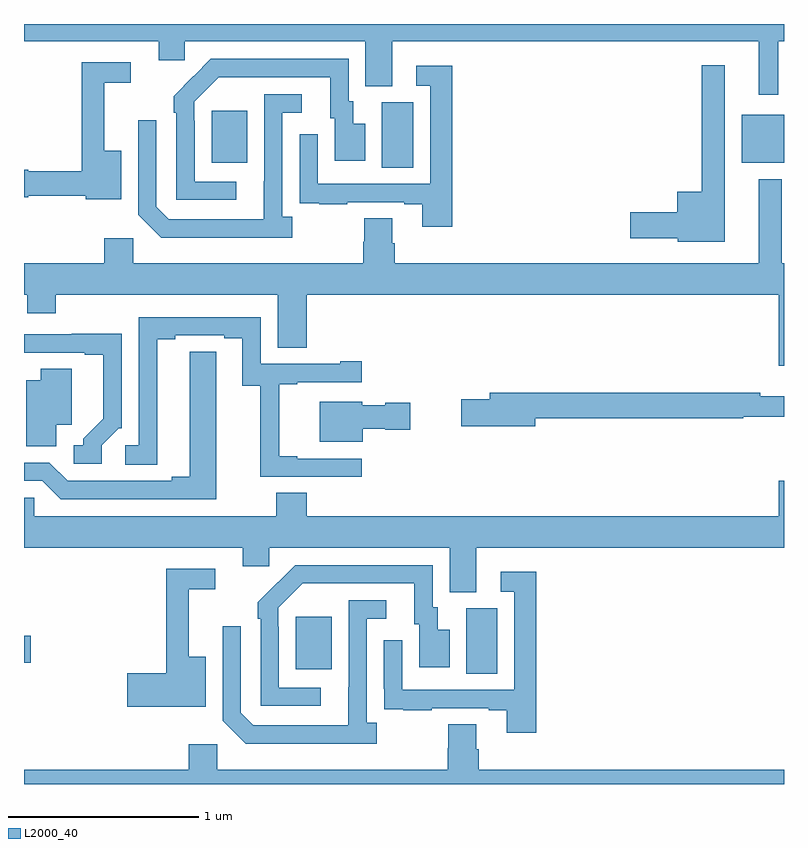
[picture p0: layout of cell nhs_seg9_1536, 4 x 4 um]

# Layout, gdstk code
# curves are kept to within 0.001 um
import gdstk
lib = gdstk.Library(unit=1e-6, precision=1e-09)
def R(c, l, rs):  # rectangles x0, y0, x1, y1
    for r in rs: c.add(gdstk.rectangle(r[:2], r[2:], *l))
def P(c, l, *ps):  # polygons
    for p in ps: c.add(gdstk.Polygon(p, *l))
L2000_40 = (2000, 40)

nhs_seg9_1536 = lib.new_cell('nhs_seg9_1536')
R(nhs_seg9_1536, L2000_40, [(199.328,1205.08,199.492,1205.424), (198.431,1205.105,198.619,1205.38), (197,1205.138,197.035,1205.28), (198.884,1207.744,199.048,1208.088), (197.987,1207.769,198.175,1208.044), (200.777,1207.769,201,1208.023)])
P(nhs_seg9_1536, L2000_40, [(200.971,1208.408),(201,1208.408),(201,1208.5),(197,1208.5),(197,1208.408),(197.708,1208.408),(197.708,1208.31),(197.847,1208.31),(197.847,1208.408),(198.797,1208.408),(198.797,1208.173),(198.937,1208.173),(198.937,1208.408),(200.867,1208.408),(200.867,1208.127),(200.971,1208.127)],
  [(198.118,1207.671),(197.898,1207.671),(197.898,1207.991),(197.895,1207.991),(197.895,1208.091),(198.024,1208.22),(198.611,1208.22),(198.611,1208.004),(198.635,1208.004),(198.635,1207.779),(198.796,1207.779),(198.796,1207.975),(198.733,1207.975),(198.733,1208.094),(198.708,1208.094),(198.708,1208.316),(197.984,1208.316),(197.787,1208.121),(197.787,1208.033),(197.802,1208.033),(197.802,1207.575),(198.118,1207.575)],
  [(197.512,1207.834),(197.423,1207.834),(197.423,1208.19),(197.563,1208.19),(197.563,1208.298),(197.305,1208.298),(197.305,1207.724),(197.022,1207.724),(197.022,1207.732),(197,1207.732),(197,1207.588),(197.022,1207.588),(197.022,1207.596),(197.324,1207.596),(197.324,1207.577),(197.512,1207.577)],
  [(200.689,1208.284),(200.568,1208.284),(200.568,1207.618),(200.438,1207.618),(200.438,1207.508),(200.19,1207.508),(200.19,1207.373),(200.442,1207.373),(200.442,1207.355),(200.689,1207.355)],
  [(199.253,1208.281),(199.065,1208.281),(199.065,1208.175),(199.137,1208.175),(199.137,1207.659),(198.546,1207.659),(198.546,1207.921),(198.45,1207.921),(198.45,1207.666),(198.451,1207.666),(198.451,1207.557),(198.553,1207.557),(198.553,1207.551),(198.701,1207.551),(198.701,1207.563),(199.001,1207.563),(199.001,1207.551),(199.097,1207.551),(199.097,1207.434),(199.253,1207.434)],
  [(198.412,1207.486),(198.36,1207.486),(198.36,1208.034),(198.463,1208.034),(198.463,1208.13),(198.264,1208.13),(198.263,1207.473),(197.763,1207.473),(197.697,1207.539),(197.697,1207.993),(197.601,1207.993),(197.601,1207.497),(197.722,1207.376),(198.412,1207.376)],
  [(201,1207.24),(200.989,1207.24),(200.989,1207.684),(200.867,1207.684),(200.867,1207.24),(198.95,1207.24),(198.95,1207.346),(198.937,1207.346),(198.937,1207.478),(198.79,1207.478),(198.79,1207.353),(198.785,1207.353),(198.785,1207.24),(197.574,1207.24),(197.574,1207.372),(197.423,1207.372),(197.423,1207.24),(197,1207.24),(197,1207.076),(197.016,1207.076),(197.016,1206.978),(197.168,1206.978),(197.168,1207.076),(198.335,1207.076),(198.335,1206.796),(198.488,1206.796),(198.488,1207.076),(200.972,1207.076),(200.972,1206.702),(201,1206.702)],
  [(198.778,1206.213),(198.439,1206.213),(198.439,1206.226),(198.344,1206.226),(198.344,1206.603),(198.439,1206.603),(198.439,1206.615),(198.778,1206.615),(198.778,1206.724),(198.665,1206.724),(198.665,1206.711),(198.246,1206.711),(198.246,1206.957),(197.604,1206.957),(197.604,1206.282),(197.532,1206.282),(197.532,1206.181),(197.701,1206.181),(197.701,1206.841),(197.797,1206.841),(197.797,1206.861),(198.053,1206.861),(198.053,1206.846),(198.149,1206.846),(198.149,1206.595),(198.244,1206.595),(198.244,1206.117),(198.778,1206.117)],
  [(197.409,1206.282),(197.499,1206.372),(197.514,1206.372),(197.514,1206.869),(197.251,1206.869),(197.251,1206.867),(197,1206.867),(197,1206.77),(197.321,1206.771),(197.321,1206.759),(197.417,1206.759),(197.417,1206.422),(197.312,1206.317),(197.312,1206.282),(197.262,1206.282),(197.262,1206.186),(197.409,1206.186)],
  [(198.013,1206.668),(198.012,1206.776),(197.873,1206.776),(197.873,1206.116),(197.777,1206.116),(197.777,1206.096),(197.229,1206.096),(197.133,1206.192),(197,1206.192),(197,1206.096),(197.097,1206.096),(197.193,1206),(198.013,1206)],
  [(197.17,1206.392),(197.251,1206.392),(197.251,1206.686),(197.087,1206.686),(197.087,1206.625),(197.012,1206.625),(197.012,1206.277),(197.17,1206.277)],
  [(199.69,1206.424),(200.786,1206.424),(200.786,1206.432),(201,1206.432),(201,1206.541),(200.876,1206.541),(200.876,1206.56),(199.451,1206.56),(199.451,1206.524),(199.302,1206.524),(199.302,1206.382),(199.69,1206.382)],
  [(198.784,1206.371),(198.9,1206.371),(198.9,1206.364),(199.033,1206.364),(199.033,1206.506),(198.9,1206.506),(198.9,1206.493),(198.78,1206.493),(198.78,1206.511),(198.557,1206.511),(198.557,1206.302),(198.784,1206.302)],
  [(199.381,1205.744),(201,1205.744),(201,1206.097),(200.972,1206.097),(200.972,1205.908),(198.488,1205.908),(198.488,1206.032),(198.328,1206.032),(198.328,1205.908),(197.055,1205.908),(197.055,1206.006),(197,1206.006),(197,1205.744),(198.152,1205.744),(198.152,1205.646),(198.291,1205.646),(198.291,1205.744),(199.241,1205.744),(199.241,1205.509),(199.381,1205.509)],
  [(198.562,1205.007),(198.342,1205.007),(198.342,1205.327),(198.339,1205.327),(198.339,1205.427),(198.468,1205.556),(199.055,1205.556),(199.055,1205.34),(199.079,1205.34),(199.079,1205.115),(199.24,1205.115),(199.24,1205.311),(199.177,1205.311),(199.177,1205.43),(199.152,1205.43),(199.152,1205.652),(198.428,1205.652),(198.231,1205.457),(198.231,1205.369),(198.246,1205.369),(198.246,1204.911),(198.562,1204.911)],
  [(197.956,1205.17),(197.867,1205.17),(197.867,1205.526),(198.007,1205.526),(198.007,1205.634),(197.749,1205.634),(197.749,1205.084),(197.544,1205.084),(197.544,1204.906),(197.956,1204.906)],
  [(199.697,1205.617),(199.509,1205.617),(199.509,1205.511),(199.581,1205.511),(199.581,1204.995),(198.99,1204.995),(198.99,1205.257),(198.894,1205.257),(198.894,1205.002),(198.895,1205.002),(198.895,1204.893),(198.997,1204.893),(198.997,1204.887),(199.145,1204.887),(199.145,1204.899),(199.445,1204.899),(199.445,1204.887),(199.541,1204.887),(199.541,1204.77),(199.697,1204.77)],
  [(198.856,1204.822),(198.804,1204.822),(198.804,1205.37),(198.907,1205.37),(198.907,1205.466),(198.708,1205.466),(198.707,1204.809),(198.207,1204.809),(198.141,1204.875),(198.141,1205.329),(198.045,1205.329),(198.045,1204.833),(198.166,1204.712),(198.856,1204.712)],
  [(201,1204.576),(199.394,1204.576),(199.394,1204.682),(199.381,1204.682),(199.381,1204.814),(199.234,1204.814),(199.234,1204.689),(199.229,1204.689),(199.229,1204.576),(198.018,1204.576),(198.018,1204.708),(197.867,1204.708),(197.867,1204.576),(197,1204.576),(197,1204.5),(201,1204.5)])

lib.write_gds('nhs_seg9_1536.gds')
